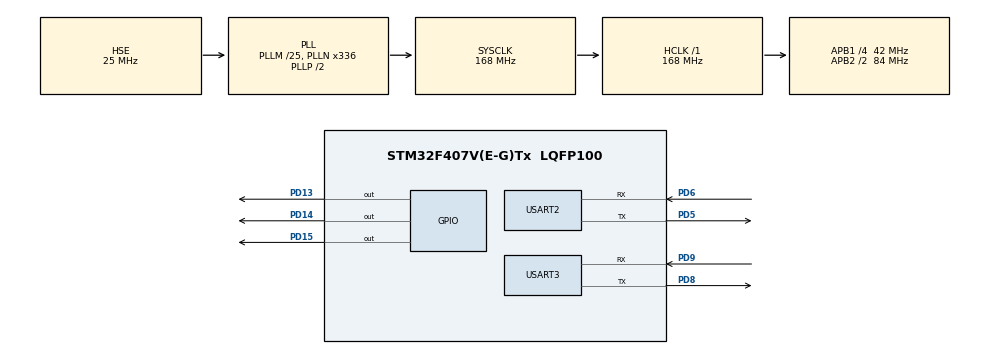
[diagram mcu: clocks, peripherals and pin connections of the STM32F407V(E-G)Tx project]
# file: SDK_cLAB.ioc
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Mcu.Family=STM32F4
Mcu.Name=STM32F407V(E-G)Tx
Mcu.Package=LQFP100
NVIC.PriorityGroup=NVIC_PRIORITYGROUP_4
NVIC.USART2_IRQn=true\:0\:0\:false\:false\:true\:true\:true
NVIC.USART3_IRQn=true\:0\:0\:false\:false\:true\:true\:true
PA13.Mode=JTAG_5_pins
PA13.Signal=SYS_JTMS-SWDIO
PA14.Mode=JTAG_5_pins
PA14.Signal=SYS_JTCK-SWCLK
PA15.Mode=JTAG_5_pins
PA15.Signal=SYS_JTDI
PB3.Mode=JTAG_5_pins
PB3.Signal=SYS_JTDO-SWO
PB4.Mode=JTAG_5_pins
PB4.Signal=SYS_JTRST
PD13.GPIO_ModeDefaultOutputPP=GPIO_MODE_OUTPUT_PP
PD13.GPIO_PuPd=GPIO_NOPULL
PD13.GPIO_Speed=GPIO_SPEED_FREQ_LOW
PD13.PinState=GPIO_PIN_RESET
PD13.Signal=GPIO_Output
PD14.GPIO_ModeDefaultOutputPP=GPIO_MODE_OUTPUT_PP
PD14.GPIO_PuPd=GPIO_NOPULL
PD14.GPIO_Speed=GPIO_SPEED_FREQ_LOW
PD14.PinState=GPIO_PIN_RESET
PD14.Signal=GPIO_Output
PD15.GPIO_ModeDefaultOutputPP=GPIO_MODE_OUTPUT_PP
PD15.GPIO_PuPd=GPIO_NOPULL
PD15.GPIO_Speed=GPIO_SPEED_FREQ_LOW
PD15.PinState=GPIO_PIN_RESET
PD15.Signal=GPIO_Output
PD5.Mode=Asynchronous
PD5.Signal=USART2_TX
PD6.Mode=Asynchronous
PD6.Signal=USART2_RX
PD8.Mode=Asynchronous
PD8.Signal=USART3_TX
PD9.Mode=Asynchronous
PD9.Signal=USART3_RX
PH0-OSC_IN.Mode=HSE-External-Clock-Source
PH0-OSC_IN.Signal=RCC_OSC_IN
PH1-OSC_OUT.Mode=HSE-External-Clock-Source
PH1-OSC_OUT.Signal=RCC_OSC_OUT
ProjectManager.HeapSize=0x200
ProjectManager.StackSize=0x400
ProjectManager.TargetToolchain=STM32CubeIDE
RCC.48MHZClocksFreq_Value=84000000
RCC.AHBFreq_Value=168000000
RCC.APB1CLKDivider=RCC_HCLK_DIV4
RCC.APB1Freq_Value=42000000
RCC.APB1TimFreq_Value=84000000
RCC.APB2CLKDivider=RCC_HCLK_DIV2
RCC.APB2Freq_Value=84000000
RCC.APB2TimFreq_Value=168000000
RCC.CortexFreq_Value=168000000
RCC.HCLKFreq_Value=168000000
RCC.HSE_VALUE=25000000
RCC.HSI_VALUE=16000000
RCC.LSE_Timout=10000
RCC.PLLM=25
RCC.PLLN=336
RCC.PLLSourceVirtual=RCC_PLLSOURCE_HSE
RCC.RCC_RTC_Clock_Source=RCC_RTCCLKSOURCE_LSI
RCC.RCC_RTC_Clock_SourceVirtual=RCC_RTCCLKSOURCE_LSE
RCC.SYSCLKFreq_VALUE=168000000
RCC.SYSCLKSource=RCC_SYSCLKSOURCE_PLLCLK
RCC.VCOOutputFreq_Value=336000000
RTC.Date=19
RTC.Format=RTC_FORMAT_BCD
RTC.Hours=17
RTC.Minutes=27
RTC.Month=RTC_MONTH_FEBRUARY
RTC.SynchPrediv=249
RTC.WeekDay=RTC_WEEKDAY_WEDNESDAY
RTC.Year=99
USART2.VirtualMode=VM_ASYNC
USART3.VirtualMode=VM_ASYNC
VP_RTC_VS_RTC_Activate.Mode=RTC_Enabled
VP_RTC_VS_RTC_Calendar.Mode=RTC_Calendar
board=custom

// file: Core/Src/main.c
/* USER CODE BEGIN Header */
/**
  ******************************************************************************
  * @file           : main.c
  * @brief          : Main program body
  ******************************************************************************
  * @attention
  *
  * <h2><center>&copy; Copyright (c) 2020 STMicroelectronics.
  * All rights reserved.</center></h2>
  *
  * This software component is licensed by ST under BSD 3-Clause license,
  * the "License"; You may not use this file except in compliance with the
  * License. You may obtain a copy of the License at:
  *                        opensource.org/licenses/BSD-3-Clause
  *
  ******************************************************************************
  */
/* USER CODE END Header */
#include "main.h"
#include "rtc.h"
#include "usart.h"
#include "gpio.h"

/* USER CODE BEGIN Includes */
#include "trace.h"
/* USER CODE END Includes */

/* USER CODE BEGIN PV */
RTC_TimeTypeDef sTime = {0};
RTC_DateTypeDef sDate = {0};

// 0 bit - Uart2 transmit flag
// 1 bit - Uart2 receive flag
// 2 bit - Uart3 transmit flag
// 3 bit - Uart3 receive flag

uint8_t uartState = 0;

/* USER CODE END PV */

void SystemClock_Config(void);

/* USER CODE BEGIN 0 */
void getTime(uint8_t* arr)
{
	  SDK_TRACE_Timestamp(TIME, 1);

	  HAL_RTC_GetTime(&hrtc, &sTime, RTC_FORMAT_BIN);
	  HAL_RTC_GetDate(&hrtc, &sDate, RTC_FORMAT_BIN);
	  SDK_TRACE_Print("Current time is - %uh %um %us", sTime.Hours, sTime.Minutes, sTime.Seconds);

	  arr[0] = sTime.Hours;
	  arr[1] = sTime.Minutes;
	  arr[2] = sTime.Seconds;

	  SDK_TRACE_Timestamp(TIME, 0);
}
/* USER CODE END 0 */

int main(void)
{
  /* USER CODE BEGIN 1 */
	uint8_t transmitBuffer[3] = {0};
	uint8_t receiveBuffer[3] = {0};

  /* USER CODE END 1 */

  /* MCU Configuration--------------------------------------------------------*/

  /* Reset of all peripherals, Initializes the Flash interface and the Systick. */
  HAL_Init();

  /* Configure the system clock */
  SystemClock_Config();

  /* Initialize all configured peripherals */
  MX_GPIO_Init();
  MX_RTC_Init();
  MX_USART2_UART_Init();
  MX_USART3_UART_Init();
  /* USER CODE BEGIN 2 */

  /* Do not remove this code below */
  MX_TRACE_Init();
  SDK_TRACE_Start();
  /* Do not remove this code from above */

  SDK_TRACE_Timestamp(HEADER, 1);
  SDK_TRACE_Print("%s","Lab 1");
  SDK_TRACE_Timestamp(HEADER, 0);

  /* Place your code from here */

  SDK_TRACE_Print("uart3 uart2 BL mode");

  //Get time and reset uart state buffer
  getTime(transmitBuffer);
  uartState = 0x00;

  for (int offset = 0; offset < 3; ++offset)
  {
	  //send through U3
	  SDK_TRACE_Timestamp(U3_TSM, 1);
	  HAL_UART_Transmit(&huart3, transmitBuffer+offset, 1, 1000);
	  SDK_TRACE_Timestamp(U3_TSM, 0);

	  //receive through U2
	  SDK_TRACE_Timestamp(U2_RCV, 1);
	  HAL_UART_Receive(&huart2, receiveBuffer+offset, 1, 1000);
	  SDK_TRACE_Timestamp(U2_RCV, 0);
  }

  //Print received time
  SDK_TRACE_Timestamp(PRINT, 1);
  SDK_TRACE_Print("Printing received data");
  SDK_TRACE_Print("uart2: %uh %um %us", receiveBuffer[0], receiveBuffer[1], receiveBuffer[2]);
  SDK_TRACE_Timestamp(PRINT, 0);

  SDK_TRACE_Print("uart2 uart3 IT mode");

  //Get time and reset uart state buffer
  sTime.Hours = 13;
  sTime.Minutes = 13;
  sTime.Seconds = 13;
  HAL_RTC_SetTime(&hrtc, &sTime, RTC_FORMAT_BIN);

  getTime(transmitBuffer);
  uartState = 0x00;

  //receive through U3
  SDK_TRACE_Timestamp(U3_RCV, 1);
  HAL_UART_Receive_IT(&huart3, receiveBuffer, 3);
  SDK_TRACE_Timestamp(U3_RCV, 0);

  //send through U2
  SDK_TRACE_Timestamp(U2_TSM, 1);
  HAL_UART_Transmit_IT(&huart2, transmitBuffer, 3);
  SDK_TRACE_Timestamp(U2_TSM, 0);

  //Wait until data is received by uart3
  SDK_TRACE_Timestamp(IDLE, 1);
  while (!(uartState & 0x08)) { };
  SDK_TRACE_Timestamp(IDLE, 0);

  //Print received time
  SDK_TRACE_Timestamp(PRINT, 1);
  SDK_TRACE_Print("Printing received data");
  SDK_TRACE_Print("uart3: %uh %um %us", receiveBuffer[0], receiveBuffer[1], receiveBuffer[2]);
  SDK_TRACE_Timestamp(PRINT, 0);

  /* Place your code before here */
  /* Do not remove this code below */
  SDK_TRACE_Stop();
  /* Do not remove this code from above */

  /* USER CODE END 2 */

  /* Infinite loop */
  while (1)
  {

  }
}

void SystemClock_Config(void)
{
  RCC_OscInitTypeDef RCC_OscInitStruct = {0};
  RCC_ClkInitTypeDef RCC_ClkInitStruct = {0};
  RCC_PeriphCLKInitTypeDef PeriphClkInitStruct = {0};

  /** Configure the main internal regulator output voltage
  */
  __HAL_RCC_PWR_CLK_ENABLE();
  __HAL_PWR_VOLTAGESCALING_CONFIG(PWR_REGULATOR_VOLTAGE_SCALE1);
  /** Initializes the RCC Oscillators according to the specified parameters
  * in the RCC_OscInitTypeDef structure.
  */
  RCC_OscInitStruct.OscillatorType = RCC_OSCILLATORTYPE_LSI|RCC_OSCILLATORTYPE_HSE;
  RCC_OscInitStruct.HSEState = RCC_HSE_BYPASS;
  RCC_OscInitStruct.LSIState = RCC_LSI_ON;
  RCC_OscInitStruct.PLL.PLLState = RCC_PLL_ON;
  RCC_OscInitStruct.PLL.PLLSource = RCC_PLLSOURCE_HSE;
  RCC_OscInitStruct.PLL.PLLM = 25;
  RCC_OscInitStruct.PLL.PLLN = 336;
  RCC_OscInitStruct.PLL.PLLP = RCC_PLLP_DIV2;
  RCC_OscInitStruct.PLL.PLLQ = 4;
  if (HAL_RCC_OscConfig(&RCC_OscInitStruct) != HAL_OK)
  {
    Error_Handler();
  }
  /** Initializes the CPU, AHB and APB buses clocks
  */
  RCC_ClkInitStruct.ClockType = RCC_CLOCKTYPE_HCLK|RCC_CLOCKTYPE_SYSCLK
                              |RCC_CLOCKTYPE_PCLK1|RCC_CLOCKTYPE_PCLK2;
  RCC_ClkInitStruct.SYSCLKSource = RCC_SYSCLKSOURCE_PLLCLK;
  RCC_ClkInitStruct.AHBCLKDivider = RCC_SYSCLK_DIV1;
  RCC_ClkInitStruct.APB1CLKDivider = RCC_HCLK_DIV4;
  RCC_ClkInitStruct.APB2CLKDivider = RCC_HCLK_DIV2;

  if (HAL_RCC_ClockConfig(&RCC_ClkInitStruct, FLASH_LATENCY_5) != HAL_OK)
  {
    Error_Handler();
  }
  PeriphClkInitStruct.PeriphClockSelection = RCC_PERIPHCLK_RTC;
  PeriphClkInitStruct.RTCClockSelection = RCC_RTCCLKSOURCE_LSI;
  if (HAL_RCCEx_PeriphCLKConfig(&PeriphClkInitStruct) != HAL_OK)
  {
    Error_Handler();
  }
}

/* USER CODE BEGIN 4 */
void HAL_UART_RxCpltCallback(UART_HandleTypeDef *huart)
{
	SDK_TRACE_Timestamp(RX_CLB, 1);
	SDK_TRACE_Print("%s","rx callback");

    if (huart->Instance == USART2)
    { uartState |= 0x02; }

    if (huart->Instance == USART3)
    { uartState |= 0x08; }

    SDK_TRACE_Timestamp(RX_CLB, 0);
}

void HAL_UART_TxCpltCallback(UART_HandleTypeDef *huart)
{
	SDK_TRACE_Timestamp(TX_CLB, 1);
	SDK_TRACE_Print("%s","tx callback");

    if (huart->Instance == USART2)
    { uartState |= 0x01; }

    if (huart->Instance == USART3)
    { uartState |= 0x04; }

	SDK_TRACE_Timestamp(TX_CLB, 0);
}

/* USER CODE END 4 */

void Error_Handler(void)
{
  /* USER CODE BEGIN Error_Handler_Debug */
  /* User can add his own implementation to report the HAL error return state */

	SDK_TRACE_Print("%s","ERROR test");

  /* USER CODE END Error_Handler_Debug */
}

/************************ (C) COPYRIGHT STMicroelectronics *****END OF FILE****/
